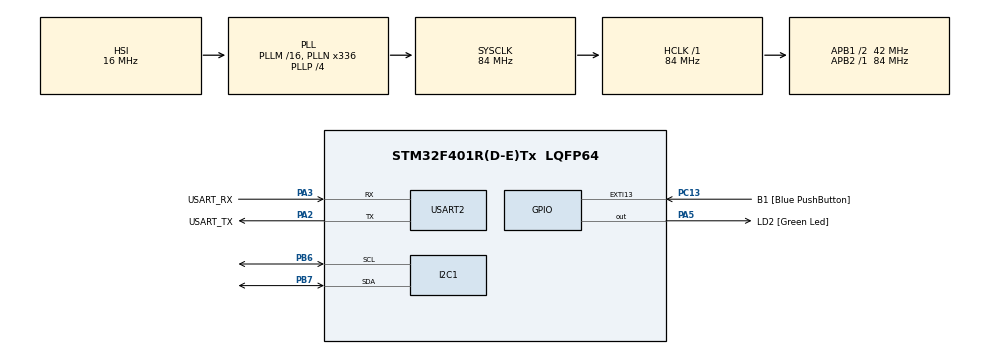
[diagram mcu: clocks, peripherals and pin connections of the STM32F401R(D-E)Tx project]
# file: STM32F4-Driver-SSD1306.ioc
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I2C1.I2C_Mode=I2C_Standard
Mcu.Family=STM32F4
Mcu.Name=STM32F401R(D-E)Tx
Mcu.Package=LQFP64
NVIC.PriorityGroup=NVIC_PRIORITYGROUP_0
PA13.GPIO_Label=TMS
PA13.Mode=Serial_Wire
PA13.Signal=SYS_JTMS-SWDIO
PA14.GPIO_Label=TCK
PA14.Mode=Serial_Wire
PA14.Signal=SYS_JTCK-SWCLK
PA2.GPIO_Label=USART_TX
PA2.GPIO_Mode=GPIO_MODE_AF_PP
PA2.GPIO_PuPd=GPIO_NOPULL
PA2.GPIO_Speed=GPIO_SPEED_FREQ_LOW
PA2.Mode=Asynchronous
PA2.Signal=USART2_TX
PA3.GPIO_Label=USART_RX
PA3.GPIO_Mode=GPIO_MODE_AF_PP
PA3.GPIO_PuPd=GPIO_NOPULL
PA3.GPIO_Speed=GPIO_SPEED_FREQ_LOW
PA3.Mode=Asynchronous
PA3.Signal=USART2_RX
PA5.GPIO_Label=LD2 [Green Led]
PA5.GPIO_Mode=GPIO_MODE_OUTPUT_PP
PA5.GPIO_PuPd=GPIO_NOPULL
PA5.GPIO_Speed=GPIO_SPEED_FREQ_LOW
PA5.Signal=GPIO_Output
PB3.GPIO_Label=SWO
PB3.Signal=SYS_JTDO-SWO
PB6.Mode=I2C
PB6.Signal=I2C1_SCL
PB7.Mode=I2C
PB7.Signal=I2C1_SDA
PC13-ANTI_TAMP.GPIO_Label=B1 [Blue PushButton]
PC13-ANTI_TAMP.GPIO_ModeDefaultEXTI=GPIO_MODE_IT_FALLING
PC13-ANTI_TAMP.GPIO_PuPd=GPIO_NOPULL
PC13-ANTI_TAMP.Signal=GPXTI13
PC14-OSC32_IN.Mode=LSE-External-Oscillator
PC14-OSC32_IN.Signal=RCC_OSC32_IN
PC15-OSC32_OUT.Mode=LSE-External-Oscillator
PC15-OSC32_OUT.Signal=RCC_OSC32_OUT
PH0\ -\ OSC_IN.Mode=HSE-External-Clock-Source
PH0\ -\ OSC_IN.Signal=RCC_OSC_IN
PH1\ -\ OSC_OUT.Mode=HSE-External-Clock-Source
PH1\ -\ OSC_OUT.Signal=RCC_OSC_OUT
ProjectManager.HeapSize=0x200
ProjectManager.StackSize=0x400
ProjectManager.TargetToolchain=STM32CubeIDE
RCC.48MHZClocksFreq_Value=48000000
RCC.AHBFreq_Value=84000000
RCC.APB1CLKDivider=RCC_HCLK_DIV2
RCC.APB1Freq_Value=42000000
RCC.APB1TimFreq_Value=84000000
RCC.APB2Freq_Value=84000000
RCC.APB2TimFreq_Value=84000000
RCC.CortexFreq_Value=84000000
RCC.HCLKFreq_Value=84000000
RCC.HSE_VALUE=8000000
RCC.HSI_VALUE=16000000
RCC.PLLN=336
RCC.PLLP=RCC_PLLP_DIV4
RCC.PLLQ=7
RCC.SYSCLKFreq_VALUE=84000000
RCC.SYSCLKSource=RCC_SYSCLKSOURCE_PLLCLK
RCC.VCOOutputFreq_Value=336000000
USART2.VirtualMode=VM_ASYNC
board=NUCLEO-F401RE

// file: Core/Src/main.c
/* USER CODE BEGIN Header */
/**
  ******************************************************************************
  * @file           : main.c
  * @brief          : Main program body
  ******************************************************************************
  * @attention
  *
  * Copyright (c) 2022 STMicroelectronics.
  * All rights reserved.
  *
  * This software is licensed under terms that can be found in the LICENSE file
  * in the root directory of this software component.
  * If no LICENSE file comes with this software, it is provided AS-IS.
  *
  ******************************************************************************
  */
/* USER CODE END Header */
#include "main.h"

/* USER CODE BEGIN Includes */
#include "ssd1306.h"

/* USER CODE END Includes */

I2C_HandleTypeDef hi2c1;

UART_HandleTypeDef huart2;

void SystemClock_Config(void);
static void MX_GPIO_Init(void);
static void MX_USART2_UART_Init(void);
static void MX_I2C1_Init(void);

int main(void)
{

  /* MCU Configuration--------------------------------------------------------*/

  /* Reset of all peripherals, Initializes the Flash interface and the Systick. */
  HAL_Init();

  /* Configure the system clock */
  SystemClock_Config();

  /* Initialize all configured peripherals */
  MX_GPIO_Init();
  MX_USART2_UART_Init();
  MX_I2C1_Init();
  /* USER CODE BEGIN 2 */
  ssd1306_Init(&hi2c1);			// Init function pass the pointer to the I2C handle structure
  uint8_t i;
  /* USER CODE END 2 */

  /* Infinite loop */
  /* USER CODE BEGIN WHILE */
  while (1)
  {
	ssd1306_SetCursor(26,0);
	ssd1306_WriteString("SYSTEM STATUS", 0);
	ssd1306_SetCursor(0,3);
	ssd1306_WriteString("TEMP: +35C", 0);
	ssd1306_SetCursor(0,5);
	ssd1306_WriteString("VOLT: +12V", 0);
	ssd1306_SetCursor(0,7);
	ssd1306_WriteString("AMP: +0.3A", 0);
	HAL_Delay(3000);

	ssd1306_ClearScreen();
	ssd1306_SetCursor(0,0);
	ssd1306_WriteString("HOST IP", 0);
	ssd1306_SetCursor(0,1);
	ssd1306_WriteString("192.168.200.123", 0);
	ssd1306_SetCursor(0,3);
	ssd1306_WriteString("SUBNET MASK", 0);
	ssd1306_SetCursor(0,4);
	ssd1306_WriteString("255.255.255.255", 0);
	ssd1306_SetCursor(0,6);
	ssd1306_WriteString("GATEWAY IP", 0);
	ssd1306_SetCursor(0,7);
	ssd1306_WriteString("192.168.200.1", 0);
	HAL_Delay(3000);

	ssd1306_ClearScreen();
	ssd1306_SetCursor(26,0);
	ssd1306_WriteString("STATUS", 1);
	ssd1306_SetCursor(0,3);
	ssd1306_WriteString("TEMP: +35C", 1);
	ssd1306_SetCursor(0,6);
	ssd1306_WriteString("VOLT: +12V", 1);
	HAL_Delay(3000);

	ssd1306_ClearScreen();
	ssd1306_SetCursor(28,0);
	ssd1306_WriteString("TIME", 2);
	ssd1306_SetCursor(5,4);
	ssd1306_WriteString("00:00", 3);

	HAL_Delay(1000);
	i = 255;
	do {
		i -= 5;
		ssd1306_SetContrast(i);
		HAL_Delay(20);
	} while (i != 0);

	HAL_Delay(1000);

	do {
		i += 5;
		ssd1306_SetContrast(i);
		HAL_Delay(20);
	} while (i < 255);

	HAL_Delay(1000);
	ssd1306_ClearScreen();

    /* USER CODE END WHILE */

  }
}

void SystemClock_Config(void)
{
  RCC_OscInitTypeDef RCC_OscInitStruct = {0};
  RCC_ClkInitTypeDef RCC_ClkInitStruct = {0};

  /** Configure the main internal regulator output voltage
  */
  __HAL_RCC_PWR_CLK_ENABLE();
  __HAL_PWR_VOLTAGESCALING_CONFIG(PWR_REGULATOR_VOLTAGE_SCALE2);

  /** Initializes the RCC Oscillators according to the specified parameters
  * in the RCC_OscInitTypeDef structure.
  */
  RCC_OscInitStruct.OscillatorType = RCC_OSCILLATORTYPE_HSI;
  RCC_OscInitStruct.HSIState = RCC_HSI_ON;
  RCC_OscInitStruct.HSICalibrationValue = RCC_HSICALIBRATION_DEFAULT;
  RCC_OscInitStruct.PLL.PLLState = RCC_PLL_ON;
  RCC_OscInitStruct.PLL.PLLSource = RCC_PLLSOURCE_HSI;
  RCC_OscInitStruct.PLL.PLLM = 16;
  RCC_OscInitStruct.PLL.PLLN = 336;
  RCC_OscInitStruct.PLL.PLLP = RCC_PLLP_DIV4;
  RCC_OscInitStruct.PLL.PLLQ = 7;
  if (HAL_RCC_OscConfig(&RCC_OscInitStruct) != HAL_OK)
  {
    Error_Handler();
  }

  /** Initializes the CPU, AHB and APB buses clocks
  */
  RCC_ClkInitStruct.ClockType = RCC_CLOCKTYPE_HCLK|RCC_CLOCKTYPE_SYSCLK
                              |RCC_CLOCKTYPE_PCLK1|RCC_CLOCKTYPE_PCLK2;
  RCC_ClkInitStruct.SYSCLKSource = RCC_SYSCLKSOURCE_PLLCLK;
  RCC_ClkInitStruct.AHBCLKDivider = RCC_SYSCLK_DIV1;
  RCC_ClkInitStruct.APB1CLKDivider = RCC_HCLK_DIV2;
  RCC_ClkInitStruct.APB2CLKDivider = RCC_HCLK_DIV1;

  if (HAL_RCC_ClockConfig(&RCC_ClkInitStruct, FLASH_LATENCY_2) != HAL_OK)
  {
    Error_Handler();
  }
}

static void MX_I2C1_Init(void)
{

  hi2c1.Instance = I2C1;
  hi2c1.Init.ClockSpeed = 100000;
  hi2c1.Init.DutyCycle = I2C_DUTYCYCLE_2;
  hi2c1.Init.OwnAddress1 = 0;
  hi2c1.Init.AddressingMode = I2C_ADDRESSINGMODE_7BIT;
  hi2c1.Init.DualAddressMode = I2C_DUALADDRESS_DISABLE;
  hi2c1.Init.OwnAddress2 = 0;
  hi2c1.Init.GeneralCallMode = I2C_GENERALCALL_DISABLE;
  hi2c1.Init.NoStretchMode = I2C_NOSTRETCH_DISABLE;
  if (HAL_I2C_Init(&hi2c1) != HAL_OK)
  {
    Error_Handler();
  }

}

static void MX_USART2_UART_Init(void)
{

  huart2.Instance = USART2;
  huart2.Init.BaudRate = 115200;
  huart2.Init.WordLength = UART_WORDLENGTH_8B;
  huart2.Init.StopBits = UART_STOPBITS_1;
  huart2.Init.Parity = UART_PARITY_NONE;
  huart2.Init.Mode = UART_MODE_TX_RX;
  huart2.Init.HwFlowCtl = UART_HWCONTROL_NONE;
  huart2.Init.OverSampling = UART_OVERSAMPLING_16;
  if (HAL_UART_Init(&huart2) != HAL_OK)
  {
    Error_Handler();
  }

}

static void MX_GPIO_Init(void)
{
  GPIO_InitTypeDef GPIO_InitStruct = {0};

  /* GPIO Ports Clock Enable */
  __HAL_RCC_GPIOC_CLK_ENABLE();
  __HAL_RCC_GPIOH_CLK_ENABLE();
  __HAL_RCC_GPIOA_CLK_ENABLE();
  __HAL_RCC_GPIOB_CLK_ENABLE();

  /*Configure GPIO pin Output Level */
  HAL_GPIO_WritePin(LD2_GPIO_Port, LD2_Pin, GPIO_PIN_RESET);

  /*Configure GPIO pin : B1_Pin */
  GPIO_InitStruct.Pin = B1_Pin;
  GPIO_InitStruct.Mode = GPIO_MODE_IT_FALLING;
  GPIO_InitStruct.Pull = GPIO_NOPULL;
  HAL_GPIO_Init(B1_GPIO_Port, &GPIO_InitStruct);

  /*Configure GPIO pin : LD2_Pin */
  GPIO_InitStruct.Pin = LD2_Pin;
  GPIO_InitStruct.Mode = GPIO_MODE_OUTPUT_PP;
  GPIO_InitStruct.Pull = GPIO_NOPULL;
  GPIO_InitStruct.Speed = GPIO_SPEED_FREQ_LOW;
  HAL_GPIO_Init(LD2_GPIO_Port, &GPIO_InitStruct);

}

void Error_Handler(void)
{
  /* USER CODE BEGIN Error_Handler_Debug */
  /* User can add his own implementation to report the HAL error return state */
  //__disable_irq();

  volatile uint32_t i;

  while (1) {
	HAL_GPIO_TogglePin(LD2_GPIO_Port, LD2_Pin);
	for (i = 0; i < ERROR_HANDLER_FLASH_DELAY; i++) {
		__asm__("");
	}
	HAL_GPIO_TogglePin(LD2_GPIO_Port, LD2_Pin);
	for (i = 0; i < ERROR_HANDLER_FLASH_DELAY * 4; i++) {
		__asm__("");
	}
  }
  /* USER CODE END Error_Handler_Debug */
}
